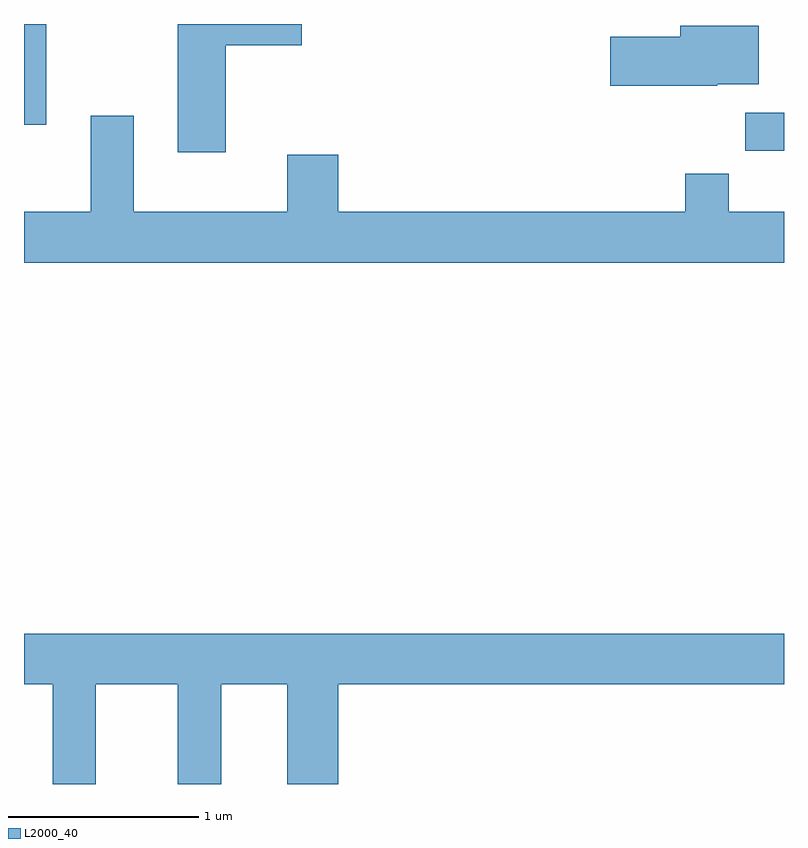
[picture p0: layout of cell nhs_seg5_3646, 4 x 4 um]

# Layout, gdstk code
import gdstk
lib = gdstk.Library(unit=1e-6, precision=1e-09)
def R(c, l, rs):  # rectangles x0, y0, x1, y1
    for r in rs: c.add(gdstk.rectangle(r[:2], r[2:], *l))
def P(c, l, *ps):  # polygons
    for p in ps: c.add(gdstk.Polygon(p, *l))
L2000_40 = (2000, 40)

nhs_seg5_3646 = lib.new_cell('nhs_seg5_3646')
R(nhs_seg5_3646, L2000_40, [(297.406,1437.406,297.611,1437.604), (293.611,1437.541,293.729,1438.072)])
P(nhs_seg5_3646, L2000_40, [(294.674,1437.961),(295.074,1437.961),(295.074,1438.072),(294.421,1438.072),(294.421,1437.396),(294.674,1437.396)],
  [(297.26,1437.756),(297.479,1437.756),(297.479,1438.064),(297.066,1438.064),(297.066,1438.004),(296.696,1438.004),(296.696,1437.746),(297.26,1437.746)],
  [(297.611,1437.084),(297.319,1437.084),(297.319,1437.284),(297.091,1437.284),(297.091,1437.084),(295.264,1437.084),(295.264,1437.384),(294.996,1437.384),(294.996,1437.084),(294.189,1437.084),(294.189,1437.589),(293.961,1437.589),(293.961,1437.084),(293.611,1437.084),(293.611,1436.816),(297.611,1436.816)],
  [(293.989,1434.596),(294.421,1434.596),(294.421,1434.072),(294.649,1434.072),(294.649,1434.596),(294.996,1434.596),(294.996,1434.072),(295.264,1434.072),(295.264,1434.596),(297.611,1434.596),(297.611,1434.864),(293.611,1434.864),(293.611,1434.596),(293.761,1434.596),(293.761,1434.072),(293.989,1434.072)])

lib.write_gds('nhs_seg5_3646.gds')
